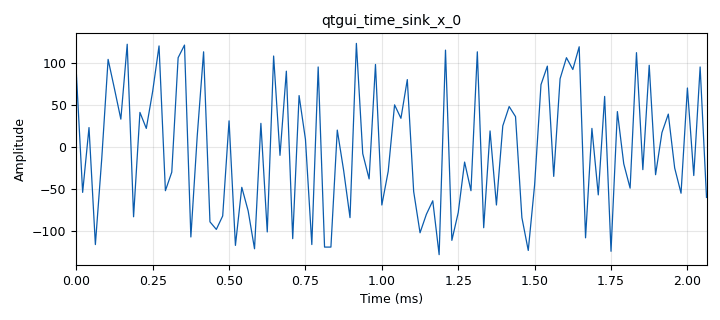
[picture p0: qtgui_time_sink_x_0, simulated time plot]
options:
  parameters:
    generate_options: qt_gui
    id: directsendreceive
    output_language: python
    title: Direct Send and Receive packet
  states: {}

blocks:
- name: access_code
  id: variable
  parameters:
    value: '"11100001010110101110100010010011"'
  states: {}
- name: format_obj
  id: variable
  parameters:
    value: digital.header_format_default(access_code, 0)
  states: {}
- name: passband_fc
  id: variable
  parameters:
    value: 5e3
  states: {}
- name: samp_rate
  id: variable
  parameters:
    value: '48000'
  states: {}
- name: sps
  id: variable
  parameters:
    value: '16'
  states: {}
- name: variable_adaptive_algorithm_0
  id: variable_adaptive_algorithm
  parameters:
    cons: variable_constellation_0
    modulus: '4'
    step_size: '.0001'
    type: cma
  states: {}
- name: variable_constellation_0
  id: variable_constellation
  parameters:
    const_points: '[-1-1j, -1+1j, 1+1j, 1-1j]'
    dims: '1'
    normalization: digital.constellation.AMPLITUDE_NORMALIZATION
    precision: '8'
    rot_sym: '4'
    sym_map: '[0, 1, 3, 2]'
    type: calcdist
  states: {}
- name: variable_low_pass_filter_taps_0
  id: variable_low_pass_filter_taps
  parameters:
    cutoff_freq: 10e3
    gain: '1.0'
    samp_rate: samp_rate
    width: 1e3
    win: window.WIN_HAMMING
  states: {}
- name: variable_rrc_filter_taps_0
  id: variable_rrc_filter_taps
  parameters:
    alpha: '0.35'
    gain: sps+1
    ntaps: 11*sps
    samp_rate: samp_rate
    sym_rate: samp_rate/sps
  states: {}
- name: analog_random_source_x_0
  id: analog_random_source_x
  parameters:
    max: '256'
    min: '0'
    num_samps: '1000'
    repeat: 'True'
    type: byte
  states: {}
- name: blocks_char_to_float_0
  id: blocks_char_to_float
  parameters:
    scale: '1'
  states: {}
- name: blocks_repack_bits_bb_0
  id: blocks_repack_bits_bb
  parameters:
    endianness: gr.GR_MSB_FIRST
    k: '1'
    l: '8'
    len_tag_key: '"packet_len"'
  states: {}
- name: blocks_stream_to_tagged_stream_0
  id: blocks_stream_to_tagged_stream
  parameters:
    len_tag_key: '"packet_len"'
    packet_len: '64'
    type: byte
  states: {}
- name: blocks_tag_gate_0
  id: blocks_tag_gate
  parameters:
    propagate_tags: 'False'
    type: byte
  states: {}
- name: blocks_tagged_stream_mux_0
  id: blocks_tagged_stream_mux
  parameters:
    lengthtagname: '"packet_len"'
    ninputs: '2'
    type: byte
  states: {}
- name: blocks_throttle2_0
  id: blocks_throttle2
  parameters:
    samples_per_second: samp_rate
    type: byte
  states: {}
- name: blocks_unpack_k_bits_bb_0
  id: blocks_unpack_k_bits_bb
  parameters:
    k: '8'
  states: {}
- name: digital_correlate_access_code_xx_ts_0
  id: digital_correlate_access_code_xx_ts
  parameters:
    access_code: access_code
    tagname: packet_len
    threshold: '0'
    type: byte
  states: {}
- name: digital_crc32_bb_0
  id: digital_crc32_bb
  parameters:
    check: 'False'
    lengthtagname: '"packet_len"'
    packed: 'True'
  states: {}
- name: digital_crc32_bb_1
  id: digital_crc32_bb
  parameters:
    check: 'True'
    lengthtagname: '"packet_len"'
    packed: 'True'
  states: {}
- name: digital_protocol_formatter_bb_0
  id: digital_protocol_formatter_bb
  parameters:
    format: format_obj
    len_tag_key: '"packet_len"'
  states: {}
- name: qtgui_time_sink_x_0
  id: qtgui_time_sink_x
  parameters:
    autoscale: 'True'
    size: '100'
    srate: samp_rate
    type: float
  states: {}
- name: virtual_sink_0
  id: virtual_sink
  parameters:
    stream_id: txbytes
  states: {}
- name: virtual_source_0
  id: virtual_source
  parameters:
    stream_id: txbytes
  states: {}

connections:
- [analog_random_source_x_0, '0', blocks_throttle2_0, '0']
- [blocks_char_to_float_0, '0', qtgui_time_sink_x_0, '0']
- [blocks_repack_bits_bb_0, '0', digital_crc32_bb_1, '0']
- [blocks_stream_to_tagged_stream_0, '0', digital_crc32_bb_0, '0']
- [blocks_tag_gate_0, '0', virtual_sink_0, '0']
- [blocks_tagged_stream_mux_0, '0', blocks_tag_gate_0, '0']
- [blocks_throttle2_0, '0', blocks_stream_to_tagged_stream_0, '0']
- [blocks_unpack_k_bits_bb_0, '0', digital_correlate_access_code_xx_ts_0, '0']
- [digital_correlate_access_code_xx_ts_0, '0', blocks_repack_bits_bb_0, '0']
- [digital_crc32_bb_0, '0', blocks_tagged_stream_mux_0, '1']
- [digital_crc32_bb_0, '0', digital_protocol_formatter_bb_0, '0']
- [digital_crc32_bb_1, '0', blocks_char_to_float_0, '0']
- [digital_protocol_formatter_bb_0, '0', blocks_tagged_stream_mux_0, '0']
- [virtual_source_0, '0', blocks_unpack_k_bits_bb_0, '0']

metadata:
  file_format: 1
  grc_version: 3.10.9.2
